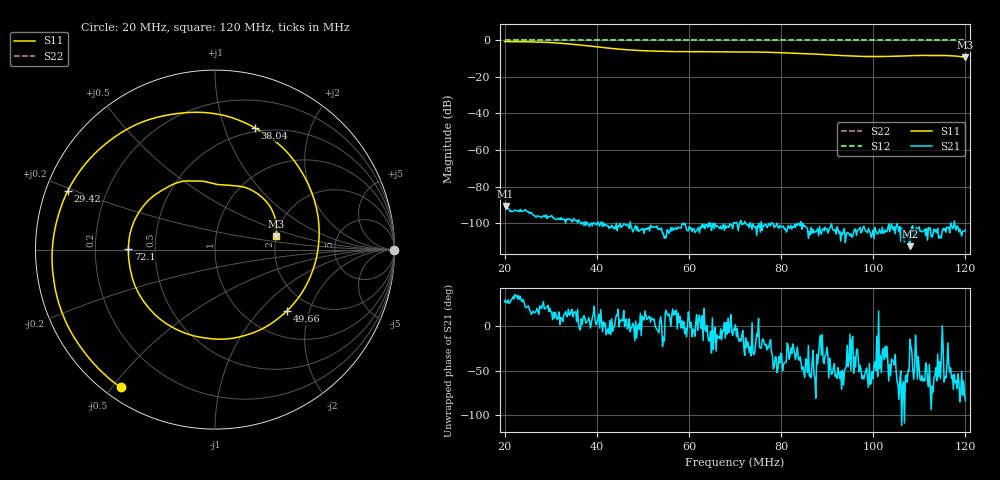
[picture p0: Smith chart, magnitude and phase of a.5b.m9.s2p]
! Anritsu VNA Master:  Model: MS2036C/10/77
! SN:  1601066
! /bd0/18may8/255.ns.m9.s2p
! Existing Calibration Information:
! TYPE:  Current Settings,  Active Cal Settings
! TIME:  05/08/2018 01:06:17 PM,  05/08/2018 01:00:27 PM
! INTERNAL TEMP:  60.0 C,  60.0 C
! # POINTS:  500,  500
! START FREQ:  20.000 MHz,  20.000 MHz
! STOP FREQ:  120.000 MHz,  120.000 MHz
! SOURCE POWER:  High,  High
! IFBW:  50 Hz,  50 Hz
! AVG FACTOR:  1 ,  1
! REF PLANE 1:  0 mm,  0 mm
! REF PLANE 2:  0 mm,  0 mm
! CAL TYPE:  Full S11,  Full S11
! CAL METHOD:  SOLT,  SOLT
! CAL LINE TYPE:  Coax,  Coax
! DUT PORT 1:  K-Conn(F),  K-Conn(F)
! DUT PORT 2:  K-Conn(F),  K-Conn(F)
! CAL STATUS:  OK: Accuracy High,  --
# GHZ S DB R 50.0
! FREQ.GHZ  S11DB  S11A  S21DB  S21A  S12DB  S12A  S22DB  S22A
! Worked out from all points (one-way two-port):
!   500 points, 20 MHz to 120 MHz, reference 50 ohm
!   highest |S21| = -90.61 dB at 20.2 MHz (marker M1); lowest = -112.7 dB at 108 MHz (marker M2)
!   lowest |S11| = -9.2 dB at 120 MHz (marker M3), VSWR 2.06, Z = 99.3 + j16.9 ohm
!   |S11| at or under -10 dB: nowhere
!   |S22| runs from 0.0 to 0.0 dB; largest |S21 - S12| = 1
!   S11 on the Smith chart (normalised r, x): 20 MHz: 0.05, -0.53; 29.42 MHz: 0.06, +0.19; 38.04 MHz: 0.46, +1.27; 49.66 MHz: 1.52, -1.44; 72.1 MHz: 0.35, +0.01; 120 MHz: 1.99, +0.34
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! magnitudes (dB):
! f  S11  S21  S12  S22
! 20 MHz  -0.6  -91.0  0.0  0.0
! 20.2 MHz  -0.6  -90.6  0.0  0.0
! 25.01 MHz  -0.7  -93.9  0.0  0.0
! 29.42 MHz  -1.1  -96.3  0.0  0.0
! 33.03 MHz  -1.7  -98.0  0.0  0.0
! 36.83 MHz  -2.6  -99.5  0.0  0.0
! 38.04 MHz  -2.9  -100.4  0.0  0.0
! 44.65 MHz  -4.7  -101.7  0.0  0.0
! 49.66 MHz  -5.6  -103.7  0.0  0.0
! 53.47 MHz  -5.9  -103.2  0.0  0.0
! 70.1 MHz  -6.3  -100.1  0.0  0.0
! 72.1 MHz  -6.3  -99.1  0.0  0.0
! 77.72 MHz  -6.5  -101.5  0.0  0.0
! 86.73 MHz  -7.4  -105.7  0.0  0.0
! 90.94 MHz  -8.0  -100.4  0.0  0.0
! 97.56 MHz  -8.7  -104.5  0.0  0.0
! 103.4 MHz  -8.7  -100.5  0.0  0.0
! 108 MHz  -8.3  -112.7  0.0  0.0
! 111.6 MHz  -8.2  -103.0  0.0  0.0
! 115.2 MHz  -8.2  -102.9  0.0  0.0
! 117.6 MHz  -8.5  -98.9  0.0  0.0
! 120 MHz  -9.2  -103.9  0.0  0.0
